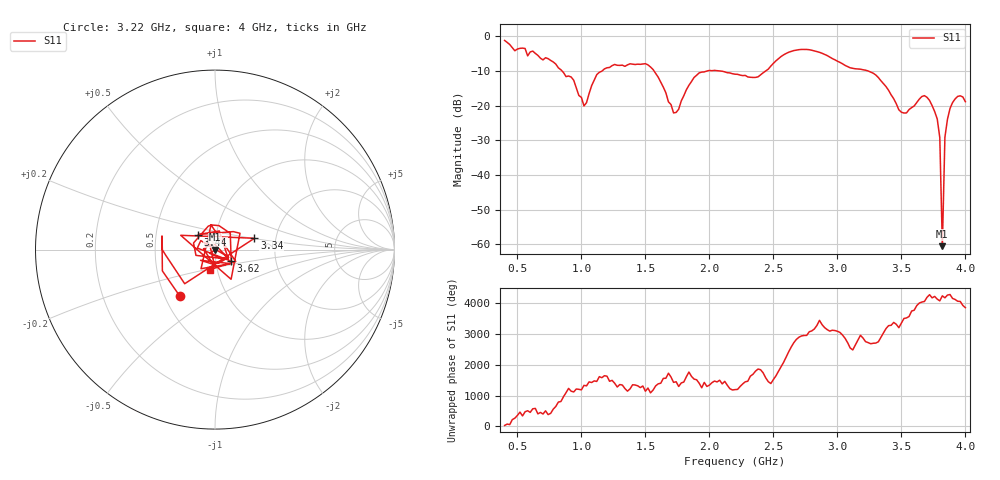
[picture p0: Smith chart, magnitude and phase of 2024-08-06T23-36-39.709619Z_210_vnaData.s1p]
!Created with skrf (http://scikit-rf.org).
# Hz S RI R 50.0
!freq ReS11 ImS11
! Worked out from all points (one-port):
!   181 points, 400 MHz to 4 GHz, reference 50 ohm
!   lowest |S11| = -60.5 dB at 3.82 GHz (marker M1), VSWR 1.00, Z = 50 - j0.092 ohm
!   |S11| at or under -10 dB: 1.568 GHz to 1.982 GHz (414.8 MHz wide, 23.4 % of centre); 2.075 GHz to 2.439 GHz (364.4 MHz wide, 16.1 % of centre); 3.24 GHz to end of sweep (the widest 3 of 4)
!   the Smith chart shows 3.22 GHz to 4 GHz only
!   S11 on the Smith chart (normalised r, x): 3.22 GHz: 0.60, -0.34; 3.34 GHz: 1.55, +0.21; 3.44 GHz: 0.82, +0.14; 3.62 GHz: 1.19, -0.16; 4 GHz: 0.93, -0.21
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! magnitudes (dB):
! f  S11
! 400 MHz  -1.2
! 860 MHz  -10.4
! 940 MHz  -12.7
! 1.02 GHz  -20.1
! 1.12 GHz  -11.1
! 1.3 GHz  -8.4
! 1.52 GHz  -8.3
! 1.72 GHz  -22.1
! 1.76 GHz  -21.0
! 1.92 GHz  -10.5
! 2.2 GHz  -10.9
! 2.38 GHz  -11.7
! 2.66 GHz  -4.1
! 3.1 GHz  -9.1
! 3.22 GHz  -9.8
! 3.34 GHz  -12.8
! 3.44 GHz  -18.0
! 3.5 GHz  -21.9
! 3.56 GHz  -21.1
! 3.62 GHz  -19.1
! 3.7 GHz  -17.6
! 3.78 GHz  -23.9
! 3.8 GHz  -29.2
! 3.82 GHz  -60.5
! 3.84 GHz  -29.1
! 3.86 GHz  -23.9
! 3.92 GHz  -18.1
! 4 GHz  -18.9
